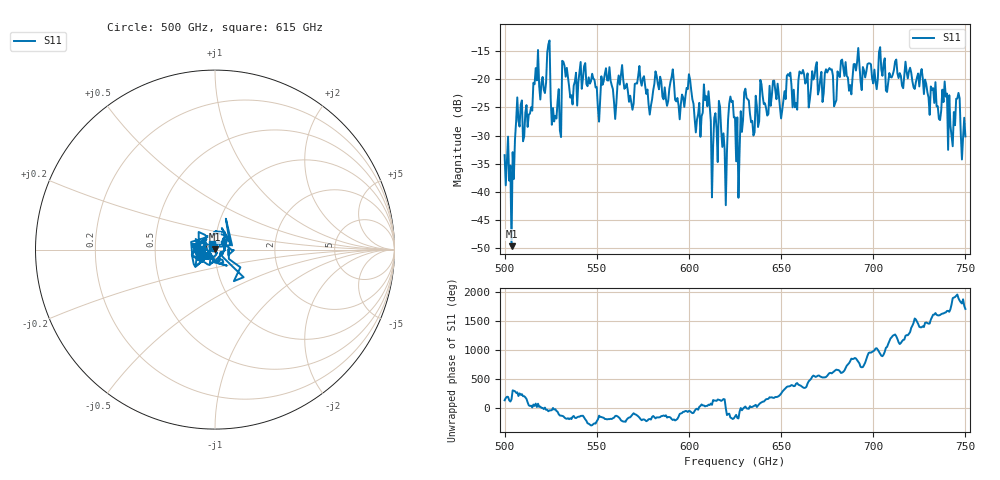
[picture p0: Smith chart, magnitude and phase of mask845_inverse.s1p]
!Created with skrf (http://scikit-rf.org).
# GHz S MA R 50.0
!freq magS11 angS11
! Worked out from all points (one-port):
!   401 points, 500 GHz to 750 GHz, reference 50 ohm
!   lowest |S11| = -49.7 dB at 503.8 GHz (marker M1), VSWR 1.01, Z = 49.7 + j0.183 ohm
!   |S11| at or under -10 dB: start of sweep to end of sweep
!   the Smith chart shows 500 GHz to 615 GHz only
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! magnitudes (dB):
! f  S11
! 500 GHz  -33.5
! 503.8 GHz  -49.7
! 507.5 GHz  -27.4
! 513.8 GHz  -26.1
! 516.9 GHz  -18.0
! 523.8 GHz  -13.8
! 526.9 GHz  -27.5
! 531.2 GHz  -16.7
! 532.5 GHz  -17.6
! 550.6 GHz  -25.1
! 562.5 GHz  -20.9
! 593.8 GHz  -23.3
! 600 GHz  -19.1
! 605 GHz  -26.2
! 609.4 GHz  -23.0
! 612.5 GHz  -41.0
! 617.5 GHz  -29.1
! 619.4 GHz  -32.4
! 622.5 GHz  -23.1
! 625 GHz  -26.8
! 626.2 GHz  -26.8
! 631.2 GHz  -23.3
! 634.4 GHz  -27.4
! 640 GHz  -23.0
! 656.2 GHz  -25.0
! 687.5 GHz  -21.0
! 718.8 GHz  -19.9
! 750 GHz  -30.2
